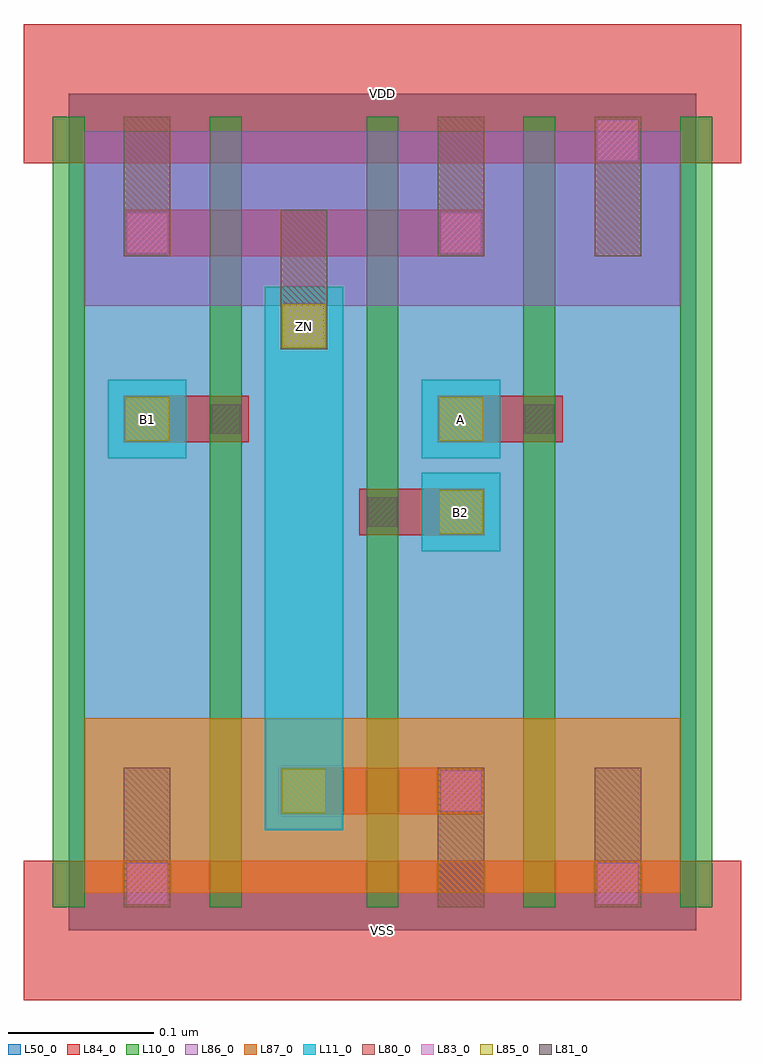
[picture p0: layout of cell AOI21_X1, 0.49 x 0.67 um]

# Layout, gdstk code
import gdstk
lib = gdstk.Library(unit=1e-6, precision=1e-09)
def R(c, l, rs):  # rectangles x0, y0, x1, y1
    for r in rs: c.add(gdstk.rectangle(r[:2], r[2:], *l))
def A(c, l, x, y, w, h, nx, ny, dx, dy):  # array of equal rectangles
    R(c, l, [(x+i*dx, y+j*dy, x+i*dx+w, y+j*dy+h) for i in range(nx) for j in range(ny)])
L10_0 = (10, 0)
L11_0 = (11, 0)
L50_0 = (50, 0)
L80_0 = (80, 0)
L81_0 = (81, 0)
L83_0 = (83, 0)
L84_0 = (84, 0)
L85_0 = (85, 0)
L86_0 = (86, 0)
L87_0 = (87, 0)

aoi21_x1 = lib.new_cell('AOI21_X1')
A(aoi21_x1, L10_0, -0.011, 0.016, 0.022, 0.544, 5, 1, 0.108, 0)
R(aoi21_x1, L11_0, [(0.135,0.069,0.189,0.443), (0.243,0.261,0.297,0.315), (0.027,0.325,0.081,0.379), (0.243,0.325,0.297,0.379)])
R(aoi21_x1, L50_0, [(0,0,0.432,0.576)])
R(aoi21_x1, L80_0, [(0.038,0.016,0.07,0.112), (0.254,0.016,0.286,0.112), (0.362,0.016,0.394,0.112), (0.146,0.4,0.178,0.496), (0.038,0.464,0.07,0.56), (0.254,0.464,0.286,0.56), (0.362,0.464,0.394,0.56)])
R(aoi21_x1, L81_0, [(0.206,0.278,0.226,0.298), (0.098,0.342,0.118,0.362), (0.314,0.342,0.334,0.362)])
R(aoi21_x1, L83_0, [(0.04,0.018,0.068,0.046), (0.364,0.018,0.392,0.046), (0.256,0.082,0.284,0.11), (0.148,0.402,0.176,0.43), (0.04,0.466,0.068,0.494), (0.256,0.466,0.284,0.494), (0.364,0.53,0.392,0.558)])
R(aoi21_x1, L84_0, [(-0.031,-0.048,0.463,0.048), (0.146,0.08,0.286,0.112), (0.2,0.272,0.286,0.304), (0.038,0.336,0.124,0.368), (0.254,0.336,0.34,0.368), (0.146,0.4,0.178,0.432), (0.038,0.464,0.286,0.496), (-0.031,0.528,0.463,0.624)])
R(aoi21_x1, L85_0, [(0.147,0.081,0.177,0.111), (0.255,0.273,0.285,0.303), (0.039,0.337,0.069,0.367), (0.255,0.337,0.285,0.367), (0.147,0.401,0.177,0.431)])
R(aoi21_x1, L86_0, [(0.011,0.43,0.421,0.55)])
R(aoi21_x1, L87_0, [(0.011,0.026,0.421,0.146)])
aoi21_x1.add(gdstk.Label('VDD', (0.216,0.576), layer=88, texttype=0))
aoi21_x1.add(gdstk.Label('VSS', (0.216,0), layer=88, texttype=0))
aoi21_x1.add(gdstk.Label('ZN', (0.162,0.416), layer=31, texttype=0))
aoi21_x1.add(gdstk.Label('A', (0.27,0.352), layer=31, texttype=0))
aoi21_x1.add(gdstk.Label('B2', (0.27,0.288), layer=31, texttype=0))
aoi21_x1.add(gdstk.Label('B1', (0.054,0.352), layer=31, texttype=0))

lib.write_gds('AOI21_X1.gds')
